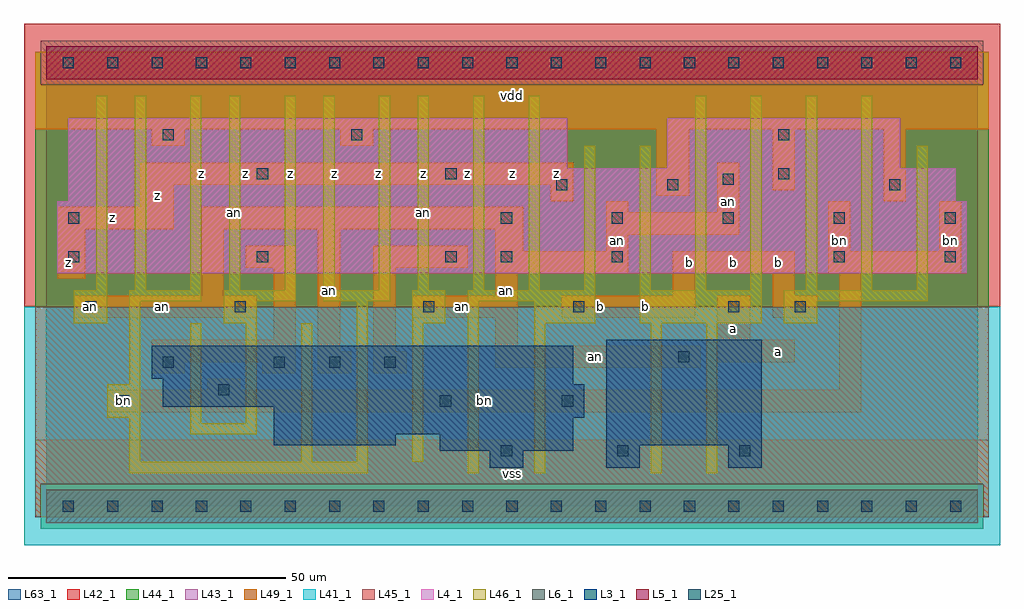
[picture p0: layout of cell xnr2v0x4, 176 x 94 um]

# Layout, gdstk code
import gdstk
lib = gdstk.Library(unit=1e-6, precision=1e-09)
def R(c, l, rs):  # rectangles x0, y0, x1, y1
    for r in rs: c.add(gdstk.rectangle(r[:2], r[2:], *l))
def A(c, l, x, y, w, h, nx, ny, dx, dy):  # array of equal rectangles
    R(c, l, [(x+i*dx, y+j*dy, x+i*dx+w, y+j*dy+h) for i in range(nx) for j in range(ny)])
L3_1 = (3, 1)
L4_1 = (4, 1)
L5_1 = (5, 1)
L6_1 = (6, 1)
L25_1 = (25, 1)
L41_1 = (41, 1)
L42_1 = (42, 1)
L43_1 = (43, 1)
L44_1 = (44, 1)
L45_1 = (45, 1)
L46_1 = (46, 1)
L49_1 = (49, 1)
L63_1 = (63, 1)

xnr2v0x4 = lib.new_cell('xnr2v0x4')
R(xnr2v0x4, L3_1, [(80,7,86,10), (101,7,107,11), (123,7,129,11), (71,10,95,13), (41,11,63,13), (101,11,129,30), (41,13,95,16), (41,16,97,18), (21,18,97,22), (21,22,95,23), (19,23,95,29)])
R(xnr2v0x4, L4_1, [(2,42,166,55), (4,55,164,61), (4,61,94,70), (112,61,154,70)])
R(xnr2v0x4, L5_1, [(0,77,168,83)])
R(xnr2v0x4, L6_1, [(0,-3,168,3), (0,-3,168,3)])
A(xnr2v0x4, L25_1, 3, -1, 2, 2, 21, 2, 8, 80)
A(xnr2v0x4, L25_1, 41, 25, 2, 2, 3, 1, 10, 0)
A(xnr2v0x4, L25_1, 4, 44, 2, 2, 3, 1, 34, 0)
A(xnr2v0x4, L25_1, 82, 51, 2, 2, 5, 1, 20, 0)
R(xnr2v0x4, L25_1, [(82,9,84,11), (103,9,105,11), (125,9,127,11), (13,18,15,20), (71,18,73,20), (93,18,95,20), (31,20,33,22), (21,25,23,27), (114,26,116,28), (7,35,9,37), (34,35,36,37), (68,35,70,37), (95,35,97,37), (123,35,125,37), (135,35,137,37), (82,44,84,46), (102,44,104,46), (142,44,144,46), (162,44,164,46), (4,51,6,53), (92,57,94,59), (112,57,114,59), (152,57,154,59), (122,58,124,60), (38,59,40,61), (72,59,74,61), (132,59,134,61), (21,66,23,68), (55,66,57,68), (132,66,134,68)])
R(xnr2v0x4, L41_1, [(-4,-7,172,36)])
R(xnr2v0x4, L42_1, [(-4,36,172,87)])
R(xnr2v0x4, L43_1, [(0,-3,168,3), (80,7,86,10), (101,7,107,11), (123,7,129,11), (71,10,95,13), (41,11,63,13), (101,11,129,30), (41,13,95,16), (41,16,97,18), (21,18,97,22), (21,22,95,23), (19,23,95,29), (2,42,166,55), (4,55,164,61), (4,61,94,70), (112,61,154,70), (0,77,168,83)])
R(xnr2v0x4, L44_1, [(-1,-4,169,4), (-2,36,170,76), (-2,76,-1,82), (169,76,170,82)])
R(xnr2v0x4, L45_1, [(-2,-2,-1,4), (169,-2,170,4), (-2,4,170,36), (-1,76,169,84)])
A(xnr2v0x4, L46_1, 67, 39, 2, 35, 3, 1, 10, 0)
A(xnr2v0x4, L46_1, 117, 39, 2, 35, 4, 1, 10, 0)
R(xnr2v0x4, L46_1, [(15,6,58,8), (76,6,78,37), (88,6,90,33), (109,6,111,33), (119,6,121,33), (15,8,17,16), (46,8,48,33), (56,8,58,37), (66,8,68,33), (26,13,38,15), (26,15,28,33), (36,15,38,33), (11,16,17,22), (15,22,17,37), (5,33,11,39), (32,33,38,37), (66,33,72,39), (88,33,99,37), (107,33,129,39), (133,33,139,37), (15,37,28,39), (32,37,45,39), (50,37,62,39), (76,37,99,39), (133,37,159,39), (9,39,11,74), (16,39,18,74), (26,39,28,74), (33,39,35,74), (43,39,45,74), (50,39,52,74), (60,39,62,74), (97,39,99,65), (107,39,109,65), (157,39,159,65)])
R(xnr2v0x4, L49_1, [(-2,-2,170,12), (11,17,147,21), (29,21,35,23), (143,21,147,42), (19,24,25,26), (39,24,45,26), (49,24,55,28), (59,24,65,28), (81,25,118,29), (19,26,45,30), (121,26,135,30), (49,28,53,50), (59,28,63,43), (81,29,85,34), (41,30,45,43), (121,30,127,38), (5,34,38,38), (66,34,85,38), (93,34,117,38), (131,34,139,38), (28,38,32,50), (81,38,85,42), (113,38,117,42), (131,38,135,42), (2,41,7,50), (81,42,105,46), (113,42,135,46), (141,42,165,46), (36,43,45,47), (59,43,76,47), (81,46,86,50), (101,46,105,49), (141,46,145,55), (161,46,165,55), (101,49,125,53), (2,50,23,54), (28,50,86,54), (101,53,105,55), (121,53,125,62), (17,54,23,58), (91,55,95,58), (151,55,155,68), (110,56,116,68), (131,57,135,68), (17,58,95,62), (19,65,25,68), (53,65,59,68), (-2,68,170,82)])
R(xnr2v0x4, L63_1, [(0,0,168,80)])
xnr2v0x4.add(gdstk.Label('bn', (14,19), layer=49, texttype=1))
xnr2v0x4.add(gdstk.Label('an', (8,36), layer=49, texttype=1))
xnr2v0x4.add(gdstk.Label('an', (34,53), layer=46, texttype=1))
xnr2v0x4.add(gdstk.Label('an', (68,53), layer=46, texttype=1))
xnr2v0x4.add(gdstk.Label('z', (4,44), layer=49, texttype=1))
xnr2v0x4.add(gdstk.Label('z', (12,52), layer=49, texttype=1))
xnr2v0x4.add(gdstk.Label('z', (28,60), layer=49, texttype=1))
xnr2v0x4.add(gdstk.Label('z', (20,56), layer=49, texttype=1))
xnr2v0x4.add(gdstk.Label('an', (21,36), layer=49, texttype=1))
xnr2v0x4.add(gdstk.Label('an', (51,39), layer=49, texttype=1))
xnr2v0x4.add(gdstk.Label('z', (60,60), layer=49, texttype=1))
xnr2v0x4.add(gdstk.Label('z', (52,60), layer=49, texttype=1))
xnr2v0x4.add(gdstk.Label('z', (44,60), layer=49, texttype=1))
xnr2v0x4.add(gdstk.Label('z', (36,60), layer=49, texttype=1))
xnr2v0x4.add(gdstk.Label('vss', (84,6), layer=49, texttype=1))
xnr2v0x4.add(gdstk.Label('an', (75,36), layer=49, texttype=1))
xnr2v0x4.add(gdstk.Label('an', (83,39), layer=49, texttype=1))
xnr2v0x4.add(gdstk.Label('z', (68,60), layer=49, texttype=1))
xnr2v0x4.add(gdstk.Label('z', (92,60), layer=49, texttype=1))
xnr2v0x4.add(gdstk.Label('z', (84,60), layer=49, texttype=1))
xnr2v0x4.add(gdstk.Label('z', (76,60), layer=49, texttype=1))
xnr2v0x4.add(gdstk.Label('vdd', (84,74), layer=49, texttype=1))
xnr2v0x4.add(gdstk.Label('an', (99,27), layer=49, texttype=1))
xnr2v0x4.add(gdstk.Label('a', (132,28), layer=49, texttype=1))
xnr2v0x4.add(gdstk.Label('a', (124,32), layer=49, texttype=1))
xnr2v0x4.add(gdstk.Label('b', (100,36), layer=49, texttype=1))
xnr2v0x4.add(gdstk.Label('b', (132,44), layer=49, texttype=1))
xnr2v0x4.add(gdstk.Label('b', (124,44), layer=49, texttype=1))
xnr2v0x4.add(gdstk.Label('b', (116,44), layer=49, texttype=1))
xnr2v0x4.add(gdstk.Label('b', (108,36), layer=49, texttype=1))
xnr2v0x4.add(gdstk.Label('an', (123,55), layer=49, texttype=1))
xnr2v0x4.add(gdstk.Label('an', (103,48), layer=49, texttype=1))
xnr2v0x4.add(gdstk.Label('bn', (79,19), layer=49, texttype=1))
xnr2v0x4.add(gdstk.Label('bn', (163,48), layer=49, texttype=1))
xnr2v0x4.add(gdstk.Label('bn', (143,48), layer=49, texttype=1))

lib.write_gds('xnr2v0x4.gds')
